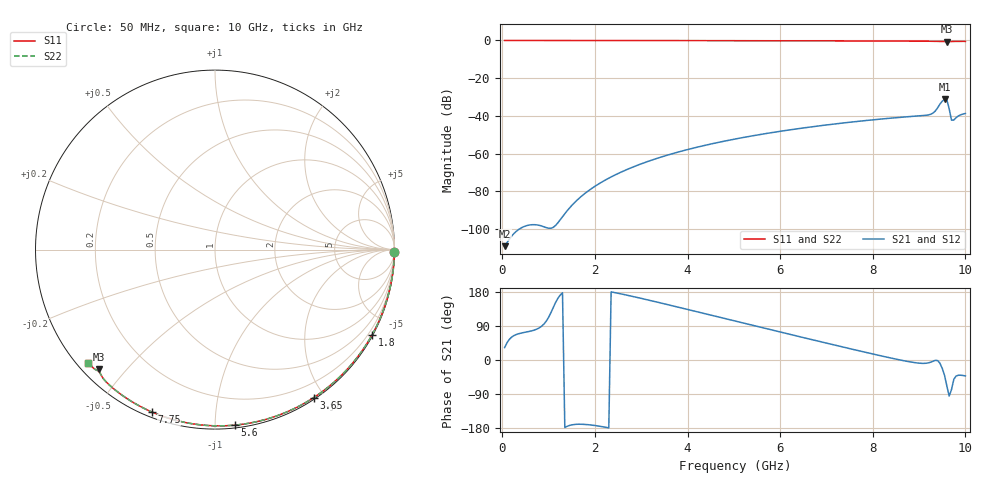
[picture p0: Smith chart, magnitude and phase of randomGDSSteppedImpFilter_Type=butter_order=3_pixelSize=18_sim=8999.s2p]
! freq	dB(S11)	phase(S11)	dB(S12)	phase(S12)
!  dB(S21)	phase(S21)	dB(S22)	phase(S22)
!S-par simulation data
#  GHz  S  DB  R 50
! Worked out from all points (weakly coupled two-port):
!   200 points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, 50 MHz to 10 GHz, reference 50 ohm
!   highest |S21| = -31.26 dB at 9.55 GHz (marker M1); lowest = -109.1 dB at 50 MHz (marker M2)
!   lowest |S11| = -0.6 dB at 9.6 GHz (marker M3), VSWR 26.87, Z = 2.2 - j21.2 ohm
!   |S11| at or under -10 dB: nowhere
!   |S22| runs from -0.6 to 0.0 dB; largest |S21 - S12| = 0
!   S11 on the Smith chart (normalised r, x): 50 MHz: open; 1.8 GHz: 0.03, -3.95; 3.65 GHz: 0.02, -1.87; 5.6 GHz: 0.02, -1.12; 7.75 GHz: 0.02, -0.68; 10 GHz: 0.03, -0.38
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0.05  -0.00 -0.8  -109.11 32.8  -109.11 32.8  -0.00 -0.8
1.75  -0.04 -27.7  -81.81 -169.7  -81.81 -169.7  -0.04 -27.7
1.8  -0.04 -28.4  -80.83 -170.1  -80.83 -170.1  -0.04 -28.4
1.85  -0.04 -29.2  -79.91 -170.6  -79.91 -170.6  -0.04 -29.2
2.15  -0.04 -33.8  -75.08 -175.7  -75.08 -175.7  -0.04 -33.8
2.55  -0.05 -39.9  -70.00 174.8  -70.00 174.8  -0.05 -39.9
3.4  -0.07 -52.6  -62.07 151.1  -62.07 151.1  -0.07 -52.6
3.65  -0.08 -56.3  -60.22 143.8  -60.22 143.8  -0.08 -56.3
5.05  -0.12 -76.1  -52.17 102.1  -52.17 102.1  -0.12 -76.1
5.6  -0.14 -83.5  -49.76 85.7  -49.76 85.7  -0.14 -83.5
6.7  -0.19 -98.0  -45.75 53.3  -45.75 53.3  -0.19 -98.0
7.75  -0.26 -111.3  -42.73 22.9  -42.73 22.9  -0.26 -111.3
8.35  -0.31 -118.7  -41.29 6.3  -41.29 6.3  -0.31 -118.7
9.25  -0.42 -130.0  -39.16 -5.8  -39.16 -5.8  -0.42 -130.1
9.35  -0.46 -131.4  -37.45 -0.9  -37.45 -0.9  -0.46 -131.4
9.5  -0.53 -133.0  -32.22 -22.0  -32.22 -22.0  -0.54 -133.0
9.55  -0.56 -133.6  -31.26 -40.7  -31.26 -40.7  -0.57 -133.6
9.6  -0.65 -134.0  -31.56 -68.7  -31.56 -68.7  -0.64 -133.9
9.65  -0.63 -133.7  -36.29 -95.1  -36.29 -95.1  -0.62 -133.7
9.7  -0.54 -134.2  -42.27 -78.0  -42.27 -78.0  -0.54 -134.2
9.75  -0.50 -134.9  -42.23 -50.9  -42.23 -50.9  -0.50 -134.9
10  -0.48 -138.3  -38.72 -41.9  -38.72 -41.9  -0.48 -138.3
